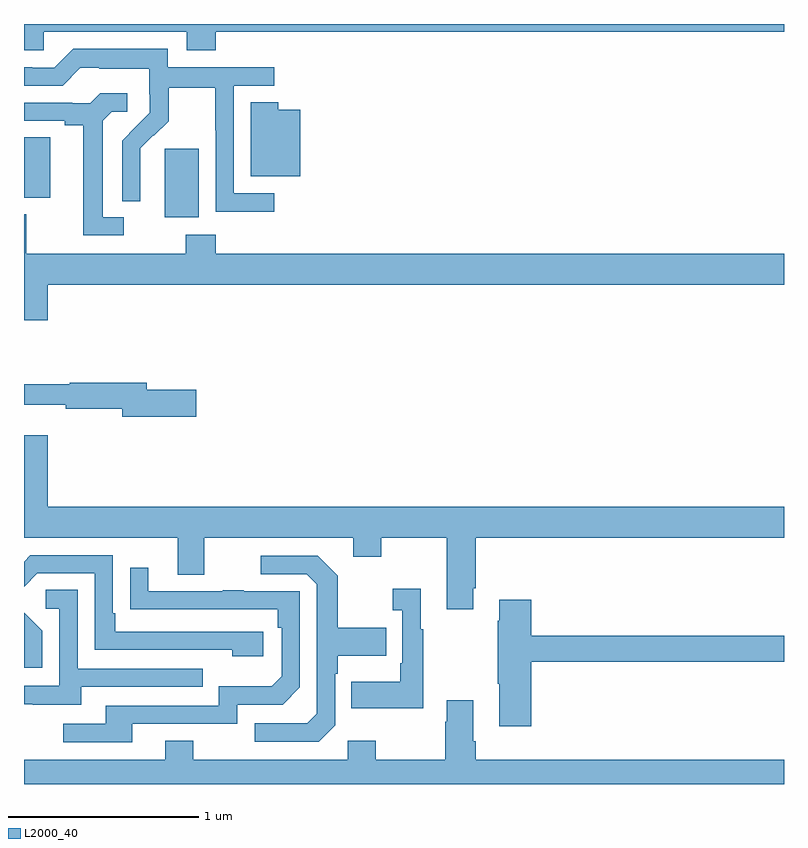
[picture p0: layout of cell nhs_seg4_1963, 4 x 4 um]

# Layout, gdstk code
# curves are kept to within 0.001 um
import gdstk
lib = gdstk.Library(unit=1e-6, precision=1e-09)
def R(c, l, rs):  # rectangles x0, y0, x1, y1
    for r in rs: c.add(gdstk.rectangle(r[:2], r[2:], *l))
def P(c, l, *ps):  # polygons
    for p in ps: c.add(gdstk.Polygon(p, *l))
L2000_40 = (2000, 40)

nhs_seg4_1963 = lib.new_cell('nhs_seg4_1963')
R(nhs_seg4_1963, L2000_40, [(213.74,755.882,213.919,756.243), (213,755.985,213.139,756.305)])
P(nhs_seg4_1963, L2000_40, [(214.01,756.86),(217,756.86),(217,756.9),(213,756.9),(213,756.762),(213.105,756.762),(213.105,756.86),(213.857,756.86),(213.857,756.761),(214.01,756.761)],
  [(214.318,756.009),(214.104,756.009),(214.104,756.576),(214.318,756.576),(214.318,756.672),(213.756,756.672),(213.756,756.769),(213.259,756.769),(213.159,756.669),(213.044,756.669),(213.044,756.672),(213,756.672),(213,756.576),(213.204,756.576),(213.297,756.669),(213.397,756.669),(213.397,756.665),(213.66,756.665),(213.66,756.531),(213.662,756.531),(213.662,756.434),(213.516,756.286),(213.516,755.968),(213.612,755.968),(213.611,756.245),(213.681,756.315),(213.684,756.312),(213.761,756.389),(213.761,756.564),(214.006,756.564),(214.006,756.34),(214.008,756.34),(214.008,755.911),(214.318,755.911)],
  [(213.526,755.883),(213.415,755.883),(213.415,756.391),(213.462,756.438),(213.544,756.438),(213.544,756.535),(213.4,756.535),(213.348,756.483),(213.254,756.483),(213.254,756.486),(213,756.486),(213,756.39),(213.215,756.39),(213.215,756.368),(213.311,756.368),(213.311,755.787),(213.526,755.787)],
  [(214.453,756.448),(214.337,756.448),(214.337,756.487),(214.193,756.487),(214.193,756.098),(214.453,756.098)],
  [(213.124,755.528),(217,755.528),(217,755.692),(214.01,755.692),(214.01,755.791),(213.85,755.791),(213.85,755.692),(213.013,755.692),(213.013,755.9),(213,755.9),(213,755.34),(213.124,755.34)],
  [(213.907,754.976),(213.646,754.976),(213.646,755.012),(213.242,755.012),(213.242,755.005),(213,755.005),(213,754.895),(213.22,754.895),(213.22,754.876),(213.518,754.876),(213.518,754.834),(213.907,754.834)],
  [(215.365,753.931),(215.378,753.931),(215.378,754.196),(217,754.196),(217,754.36),(213.124,754.36),(213.124,754.735),(213,754.735),(213,754.196),(213.809,754.196),(213.809,754.002),(213.949,754.002),(213.949,754.196),(214.733,754.196),(214.733,754.097),(214.881,754.097),(214.881,754.196),(215.225,754.196),(215.225,753.819),(215.365,753.819)],
  [(214.258,753.702),(213.481,753.702),(213.481,753.799),(213.468,753.799),(213.468,754.104),(213.033,754.104),(213,754.071),(213,753.939),(213.069,754.008),(213.372,754.008),(213.372,753.606),(214.097,753.606),(214.097,753.572),(214.258,753.572)],
  [(214.638,753.21),(214.638,753.479),(214.651,753.479),(214.651,753.575),(214.907,753.575),(214.907,753.723),(214.651,753.723),(214.651,753.995),(214.545,754.101),(214.245,754.101),(214.245,754.005),(214.488,754.005),(214.542,753.951),(214.542,753.27),(214.491,753.219),(214.215,753.219),(214.215,753.123),(214.551,753.123)],
  [(213.571,753.216),(214.122,753.216),(214.122,753.318),(214.362,753.318),(214.452,753.408),(214.452,753.915),(214.157,753.915),(214.157,753.92),(214.045,753.92),(214.045,753.915),(213.655,753.915),(213.655,754.039),(213.559,754.039),(213.559,753.82),(214.336,753.819),(214.336,753.722),(214.356,753.722),(214.356,753.468),(214.303,753.415),(214.026,753.415),(214.026,753.312),(213.431,753.312),(213.431,753.216),(213.207,753.216),(213.207,753.12),(213.571,753.12)],
  [(215.101,753.715),(215.089,753.715),(215.089,753.928),(214.941,753.928),(214.941,753.815),(214.992,753.815),(214.992,753.535),(214.98,753.535),(214.98,753.439),(214.723,753.439),(214.723,753.299),(215.101,753.299)],
  [(213.301,753.411),(213.941,753.411),(213.941,753.507),(213.282,753.507),(213.282,753.923),(213.114,753.923),(213.114,753.822),(213.186,753.822),(213.186,753.417),(213,753.417),(213,753.321),(213.047,753.321),(213.047,753.317),(213.301,753.317)],
  [(215.669,753.544),(217,753.544),(217,753.68),(215.669,753.68),(215.669,753.871),(215.501,753.871),(215.501,753.758),(215.494,753.758),(215.494,753.427),(215.501,753.427),(215.501,753.204),(215.669,753.204)],
  [(213.096,753.706),(213,753.802),(213,753.513),(213.096,753.513)],
  [(217,753.028),(215.378,753.028),(215.378,753.124),(215.365,753.124),(215.365,753.34),(215.225,753.34),(215.225,753.227),(215.218,753.227),(215.218,753.028),(214.851,753.028),(214.851,753.127),(214.704,753.127),(214.704,753.028),(213.891,753.028),(213.891,753.127),(213.743,753.127),(213.743,753.028),(213,753.028),(213,752.9),(217,752.9)])

lib.write_gds('nhs_seg4_1963.gds')
